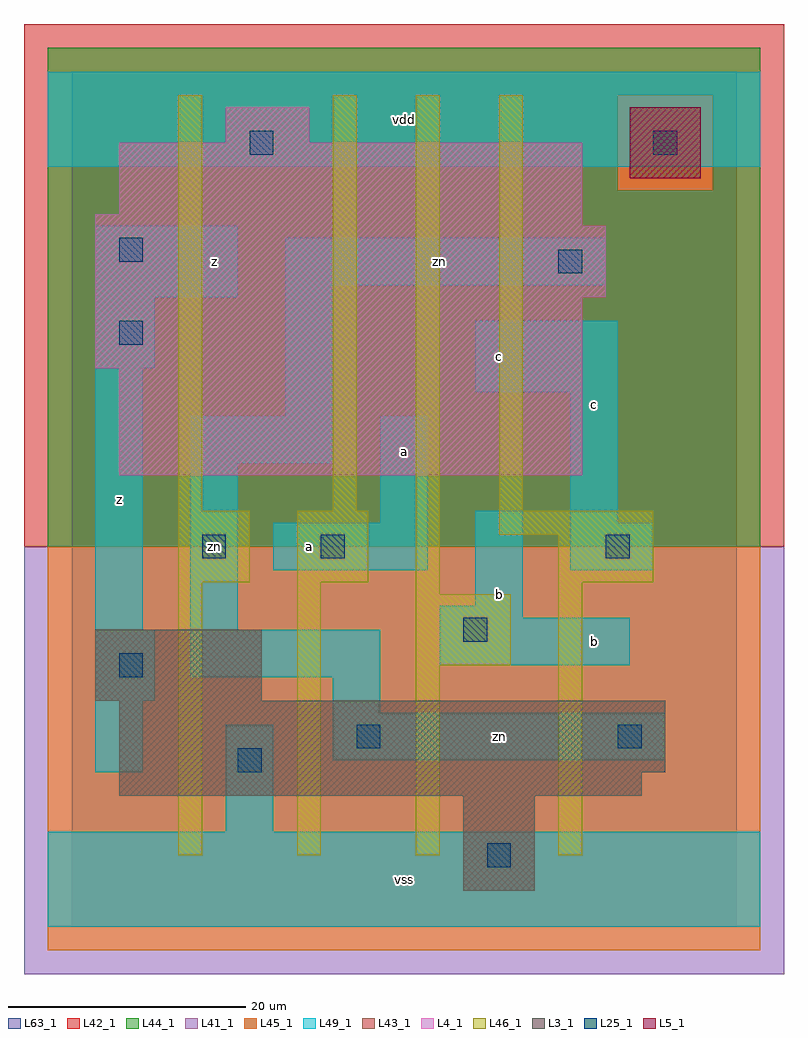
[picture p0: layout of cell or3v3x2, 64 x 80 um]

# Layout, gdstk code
import gdstk
lib = gdstk.Library(unit=1e-6, precision=1e-09)
def R(c, l, rs):  # rectangles x0, y0, x1, y1
    for r in rs: c.add(gdstk.rectangle(r[:2], r[2:], *l))
L3_1 = (3, 1)
L4_1 = (4, 1)
L5_1 = (5, 1)
L25_1 = (25, 1)
L41_1 = (41, 1)
L42_1 = (42, 1)
L43_1 = (43, 1)
L44_1 = (44, 1)
L45_1 = (45, 1)
L46_1 = (46, 1)
L49_1 = (49, 1)
L63_1 = (63, 1)

or3v3x2 = lib.new_cell('or3v3x2')
R(or3v3x2, L3_1, [(33,3,39,11), (4,11,48,13), (4,13,50,19), (2,19,16,25)])
R(or3v3x2, L4_1, [(4,38,43,47), (2,47,43,53), (2,53,45,59), (2,59,43,60), (4,60,43,66), (13,66,20,69)])
R(or3v3x2, L5_1, [(47,63,53,69)])
R(or3v3x2, L25_1, [(35,5,37,7), (14,13,16,15), (24,15,26,17), (46,15,48,17), (4,21,6,23), (33,24,35,26), (11,31,13,33), (21,31,23,33), (45,31,47,33), (4,49,6,51), (41,55,43,57), (4,56,6,58), (15,65,17,67), (49,65,51,67)])
R(or3v3x2, L41_1, [(-4,-4,60,32)])
R(or3v3x2, L42_1, [(-4,32,60,76)])
R(or3v3x2, L43_1, [(33,3,39,11), (4,11,48,13), (4,13,50,19), (2,19,16,25), (4,38,43,47), (2,47,43,53), (2,53,45,59), (2,59,43,60), (4,60,43,66), (47,63,53,69), (13,66,20,69)])
R(or3v3x2, L44_1, [(-2,32,58,62), (-2,62,46,70), (54,62,58,70), (-2,70,58,74)])
R(or3v3x2, L45_1, [(-2,-2,58,32), (46,62,54,70)])
R(or3v3x2, L46_1, [(9,6,11,29), (19,6,21,29), (29,6,31,22), (41,6,43,29), (29,22,37,28), (29,28,31,70), (9,29,15,35), (19,29,25,35), (41,29,49,33), (36,33,49,35), (9,35,11,70), (22,35,24,70), (36,35,38,70)])
R(or3v3x2, L49_1, [(-2,0,58,8), (13,8,17,17), (2,13,6,19), (22,14,50,18), (22,18,26,21), (2,19,7,25), (10,21,26,25), (31,22,47,26), (2,25,6,47), (10,25,14,39), (31,26,38,27), (34,27,38,35), (17,30,30,34), (42,30,49,34), (26,34,30,43), (42,34,46,45), (10,39,22,43), (18,43,22,54), (34,45,46,51), (2,47,7,53), (2,53,14,59), (18,54,45,58), (-2,64,58,72)])
R(or3v3x2, L63_1, [(0,0,56,72)])
or3v3x2.add(gdstk.Label('zn', (12,32), layer=49, texttype=1))
or3v3x2.add(gdstk.Label('z', (4,36), layer=49, texttype=1))
or3v3x2.add(gdstk.Label('a', (20,32), layer=49, texttype=1))
or3v3x2.add(gdstk.Label('zn', (12,32), layer=49, texttype=1))
or3v3x2.add(gdstk.Label('z', (12,56), layer=49, texttype=1))
or3v3x2.add(gdstk.Label('vss', (28,4), layer=49, texttype=1))
or3v3x2.add(gdstk.Label('b', (36,28), layer=49, texttype=1))
or3v3x2.add(gdstk.Label('a', (28,40), layer=49, texttype=1))
or3v3x2.add(gdstk.Label('c', (36,48), layer=49, texttype=1))
or3v3x2.add(gdstk.Label('vdd', (28,68), layer=49, texttype=1))
or3v3x2.add(gdstk.Label('zn', (36,16), layer=49, texttype=1))
or3v3x2.add(gdstk.Label('b', (44,24), layer=49, texttype=1))
or3v3x2.add(gdstk.Label('c', (44,44), layer=49, texttype=1))
or3v3x2.add(gdstk.Label('zn', (31,56), layer=49, texttype=1))

lib.write_gds('or3v3x2.gds')
